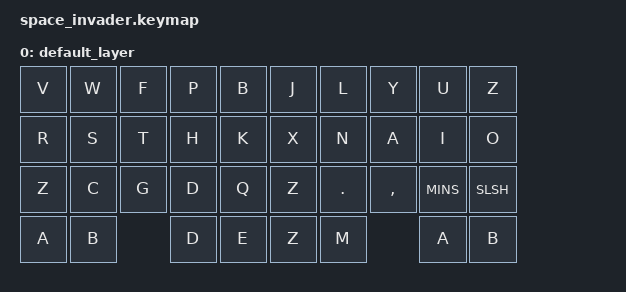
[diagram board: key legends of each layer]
#include <behaviors.dtsi>
#include <dt-bindings/zmk/keys.h>

/ {
    keymap {
        compatible = "zmk,keymap";

        default_layer { // Layer 0
            bindings = <
                &kp V    &kp W    &kp F    &kp P    &kp B        &kp J    &kp L    &kp Y    &kp U    &kp Z
                &kp R    &kp S    &kp T    &kp H    &kp K        &kp X    &kp N    &kp A    &kp I    &kp O
                &kp Z    &kp C    &kp G    &kp D    &kp Q        &kp Z    &kp DOT  &kp COMMA &kp MINS  &kp SLSH
                &kp A    &kp B             &kp D    &kp E        &kp Z    &kp M             &kp A    &kp B
            >;
        };
    };
 };
